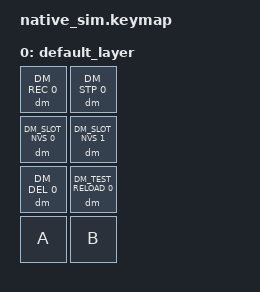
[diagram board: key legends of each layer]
#include <dt-bindings/zmk/keys.h>
#include <behaviors.dtsi>
#include <dt-bindings/zmk/kscan_mock.h>
#include <behaviors/dynamic_macro.dtsi>
#include <dt-bindings/zmk/dynamic_macros.h>

/*
 * NVS delete DURABILITY across a reboot. The other NVS cases prove save/load
 * fidelity (nvs_roundtrip, multi_slot_nvs) or load-time mapping (nvs_load); none
 * proves a DELETE actually erased the slot from flash and STAYS erased across a
 * power cycle. This does:
 *
 *   record A B -> assign NVS slot 0 (persists to flash) -> DEL -> delete slot 0
 *   (async settings_delete erases it from flash) -> TEST_RELOAD (flush, zero RAM,
 *   reload from flash) -> play slot 0.
 *
 * If the erase committed and survived the reload, the slot is empty and the
 * final play emits NOTHING. So the snapshot is only the live A,B typed during
 * recording — a regression that left the slot on flash would resurrect A,B on
 * the post-reload play and the snapshot would not match. Flash is process-
 * private (--flash_in_ram, defaulted by Kconfig under TEST_RELOAD).
 *
 * Key layout (4 rows x 2 cols):
 *   (0,0)=REC        (0,1)=STP
 *   (1,0)=NVS slot 0 (1,1)=NVS slot 1
 *   (2,0)=DEL        (2,1)=TEST_RELOAD
 *   (3,0)=A          (3,1)=B
 */

&kscan {
    rows = <4>;
    columns = <2>;
    exit-after;
    events = <
        /* REC */
        ZMK_MOCK_PRESS(0,0,10)
        ZMK_MOCK_RELEASE(0,0,10)
        /* A (recorded) */
        ZMK_MOCK_PRESS(3,0,10)
        ZMK_MOCK_RELEASE(3,0,10)
        /* B (recorded) */
        ZMK_MOCK_PRESS(3,1,10)
        ZMK_MOCK_RELEASE(3,1,10)
        /* STP */
        ZMK_MOCK_PRESS(0,1,10)
        ZMK_MOCK_RELEASE(0,1,10)
        /* SLOT_NVS 0 (assign — persists to flash) */
        ZMK_MOCK_PRESS(1,0,500)
        ZMK_MOCK_RELEASE(1,0,10)
        /* DEL (enter delete mode) */
        ZMK_MOCK_PRESS(2,0,10)
        ZMK_MOCK_RELEASE(2,0,10)
        /* SLOT_NVS 0 (delete — async erase from flash; let it settle) */
        ZMK_MOCK_PRESS(1,0,500)
        ZMK_MOCK_RELEASE(1,0,10)
        /* TEST_RELOAD (flush NVS, zero RAM, reload from flash) */
        ZMK_MOCK_PRESS(2,1,10)
        ZMK_MOCK_RELEASE(2,1,10)
        /* SLOT_NVS 0 (play — must be EMPTY: delete survived the reload) */
        ZMK_MOCK_PRESS(1,0,2000)
        ZMK_MOCK_RELEASE(1,0,10)
    >;
};

/ {
    keymap {
        compatible = "zmk,keymap";
        default_layer {
            bindings = <
                &dm DM_REC 0      &dm DM_STP 0
                &dm DM_SLOT_NVS 0 &dm DM_SLOT_NVS 1
                &dm DM_DEL 0      &dm DM_TEST_RELOAD 0
                &kp A             &kp B
            >;
        };
    };
};
